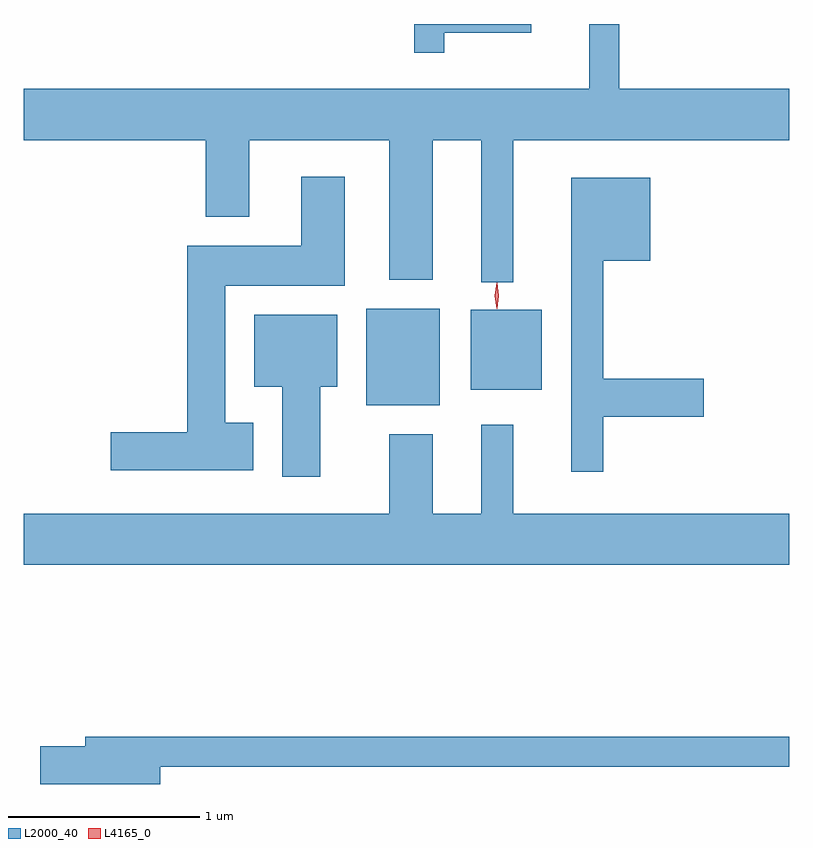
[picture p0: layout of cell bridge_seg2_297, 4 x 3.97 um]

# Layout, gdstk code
import gdstk
lib = gdstk.Library(unit=1e-6, precision=1e-09)
def R(c, l, rs):  # rectangles x0, y0, x1, y1
    for r in rs: c.add(gdstk.rectangle(r[:2], r[2:], *l))
def P(c, l, *ps):  # polygons
    for p in ps: c.add(gdstk.Polygon(p, *l))
L2000_40 = (2000, 40)
L4165_0 = (4165, 0)

bridge_seg2_297 = lib.new_cell('bridge_seg2_297')
R(bridge_seg2_297, L2000_40, [(441.191,1060.251,441.574,1060.754), (441.736,1060.331,442.109,1060.749)])
P(bridge_seg2_297, L2000_40, [(441.959,1061.636),(443.401,1061.636),(443.401,1061.904),(442.514,1061.904),(442.514,1062.243),(442.356,1062.243),(442.356,1061.904),(439.401,1061.904),(439.401,1061.636),(440.351,1061.636),(440.351,1061.236),(440.579,1061.236),(440.579,1061.636),(441.311,1061.636),(441.311,1060.906),(441.539,1060.906),(441.539,1061.636),(441.791,1061.636),(441.791,1060.893),(441.959,1060.893)],
  [(441.599,1062.196),(442.054,1062.196),(442.054,1062.243),(441.441,1062.243),(441.441,1062.093),(441.599,1062.093)],
  [(440.599,1060.159),(440.454,1060.159),(440.454,1060.876),(441.079,1060.876),(441.079,1061.444),(440.851,1061.444),(440.851,1061.084),(440.256,1061.084),(440.256,1060.109),(439.856,1060.109),(439.856,1059.911),(440.599,1059.911)],
  [(442.429,1060.191),(442.954,1060.191),(442.954,1060.389),(442.429,1060.389),(442.429,1061.006),(442.674,1061.006),(442.674,1061.439),(442.261,1061.439),(442.261,1059.903),(442.429,1059.903)],
  [(440.949,1060.346),(441.039,1060.346),(441.039,1060.724),(440.606,1060.724),(440.606,1060.346),(440.751,1060.346),(440.751,1059.876),(440.949,1059.876)],
  [(443.401,1059.684),(441.959,1059.684),(441.959,1060.148),(441.791,1060.148),(441.791,1059.684),(441.539,1059.684),(441.539,1060.099),(441.311,1060.099),(441.311,1059.684),(439.401,1059.684),(439.401,1059.416),(443.401,1059.416)],
  [(440.114,1058.361),(443.401,1058.361),(443.401,1058.519),(439.721,1058.519),(439.721,1058.469),(439.486,1058.469),(439.486,1058.271),(440.114,1058.271)])
P(bridge_seg2_297, L4165_0, [(441.872,1060.754),(441.863,1060.822),(441.872,1060.89),(441.873,1060.89),(441.874,1060.89),(441.883,1060.822),(441.874,1060.754),(441.873,1060.754)],
  [(441.872,1060.758),(441.863,1060.822),(441.872,1060.886),(441.873,1060.887),(441.874,1060.886),(441.883,1060.822),(441.874,1060.758),(441.873,1060.758)])

lib.write_gds('bridge_seg2_297.gds')
